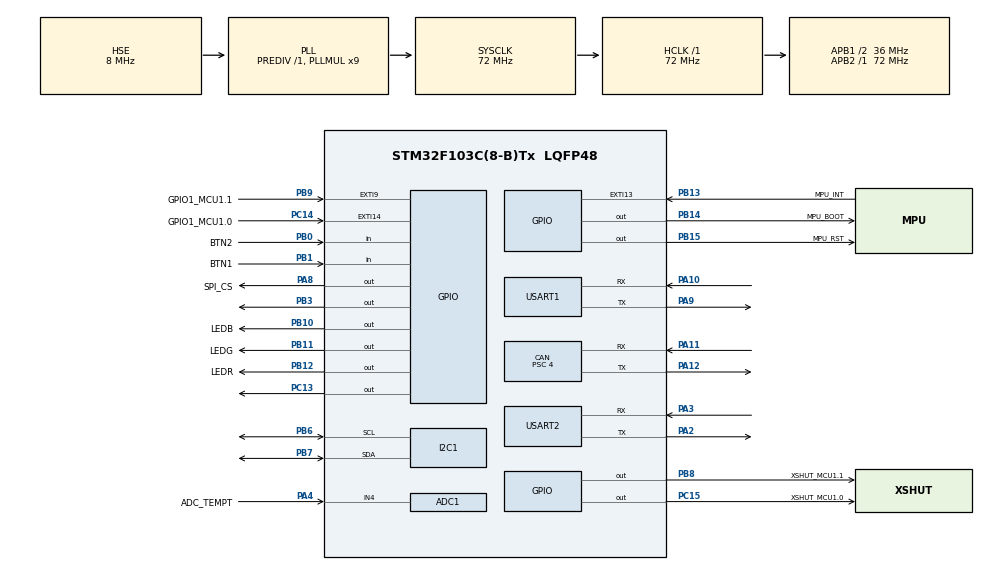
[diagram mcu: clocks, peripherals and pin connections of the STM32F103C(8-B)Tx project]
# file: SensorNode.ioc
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ADC1.Channel-2\#ChannelRegularConversion=ADC_CHANNEL_4
ADC1.NbrOfConversionFlag=1
ADC1.Rank-2\#ChannelRegularConversion=1
ADC1.SamplingTime-2\#ChannelRegularConversion=ADC_SAMPLETIME_1CYCLE_5
ADC1.master=1
CAN.BS1=CAN_BS1_13TQ
CAN.BS2=CAN_BS2_4TQ
CAN.CalculateBaudRate=500000
CAN.CalculateTimeBit=2000
CAN.CalculateTimeQuantum=111.11111111111111
CAN.Prescaler=4
CAN.SJW=CAN_SJW_2TQ
Mcu.Family=STM32F1
Mcu.Name=STM32F103C(8-B)Tx
Mcu.Package=LQFP48
NVIC.CAN1_RX1_IRQn=true\:0\:0\:false\:false\:true\:true\:true\:true
NVIC.PriorityGroup=NVIC_PRIORITYGROUP_4
NVIC.TIM2_IRQn=true\:0\:0\:false\:false\:true\:true\:true\:true
PA10.Mode=Asynchronous
PA10.Signal=USART1_RX
PA11.Mode=CAN_Activate
PA11.Signal=CAN_RX
PA12.Mode=CAN_Activate
PA12.Signal=CAN_TX
PA2.Mode=Asynchronous
PA2.Signal=USART2_TX
PA3.Mode=Asynchronous
PA3.Signal=USART2_RX
PA4.GPIO_Label=ADC_TEMPT
PA4.Signal=SharedAnalog_PA4
PA8.GPIO_Label=SPI_CS
PA8.Signal=GPIO_Output
PA9.Mode=Asynchronous
PA9.Signal=USART1_TX
PB0.GPIO_Label=BTN2
PB0.Signal=GPIO_Input
PB1.GPIO_Label=BTN1
PB1.Signal=GPIO_Input
PB10.GPIO_Label=LEDB
PB10.PinState=GPIO_PIN_SET
PB10.Signal=GPIO_Output
PB11.GPIO_Label=LEDG
PB11.PinState=GPIO_PIN_SET
PB11.Signal=GPIO_Output
PB12.GPIO_Label=LEDR
PB12.PinState=GPIO_PIN_SET
PB12.Signal=GPIO_Output
PB13.GPIO_Label=MPU_INT
PB13.Signal=GPXTI13
PB14.GPIO_Label=MPU_BOOT
PB14.Signal=GPIO_Output
PB15.GPIO_Label=MPU_RST
PB15.Signal=GPIO_Output
PB3.PinState=GPIO_PIN_SET
PB3.Signal=GPIO_Output
PB6.Mode=I2C
PB6.Signal=I2C1_SCL
PB7.Mode=I2C
PB7.Signal=I2C1_SDA
PB8.GPIO_Label=XSHUT_MCU1.1
PB8.Signal=GPIO_Output
PB9.GPIO_Label=GPIO1_MCU1.1
PB9.Signal=GPXTI9
PC13-TAMPER-RTC.Signal=GPIO_Output
PC14-OSC32_IN.GPIO_Label=GPIO1_MCU1.0
PC14-OSC32_IN.Signal=GPXTI14
PC15-OSC32_OUT.GPIO_Label=XSHUT_MCU1.0
PC15-OSC32_OUT.Signal=GPIO_Output
PD0-OSC_IN.Mode=HSE-External-Oscillator
PD0-OSC_IN.Signal=RCC_OSC_IN
PD1-OSC_OUT.Mode=HSE-External-Oscillator
PD1-OSC_OUT.Signal=RCC_OSC_OUT
ProjectManager.HeapSize=0x200
ProjectManager.StackSize=0x400
ProjectManager.TargetToolchain=STM32CubeIDE
RCC.ADCPresc=RCC_ADCPCLK2_DIV6
RCC.AHBFreq_Value=72000000
RCC.APB1CLKDivider=RCC_HCLK_DIV2
RCC.APB1Freq_Value=36000000
RCC.APB1TimFreq_Value=72000000
RCC.APB2Freq_Value=72000000
RCC.APB2TimFreq_Value=72000000
RCC.HCLKFreq_Value=72000000
RCC.PLLMUL=RCC_PLL_MUL9
RCC.PLLSourceVirtual=RCC_PLLSOURCE_HSE
RCC.SYSCLKFreq_VALUE=72000000
RCC.SYSCLKSource=RCC_SYSCLKSOURCE_PLLCLK
RCC.USBFreq_Value=72000000
SH.SharedAnalog_PA4.0=GPIO_Analog
SH.SharedAnalog_PA4.1=ADC1_IN4,IN4
TIM2.Period=999
TIM2.Prescaler=3599
USART1.VirtualMode=VM_ASYNC
USART2.VirtualMode=VM_ASYNC
VP_SYS_VS_ND.Mode=No_Debug
VP_TIM2_VS_ClockSourceINT.Mode=Internal
board=custom

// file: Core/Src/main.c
/* USER CODE BEGIN Header */
/**
  ******************************************************************************
  * @file           : main.c
  * @brief          : Main program body
  ******************************************************************************
  * @attention
  *
  * Copyright (c) 2023 STMicroelectronics.
  * All rights reserved.
  *
  * This software is licensed under terms that can be found in the LICENSE file
  * in the root directory of this software component.
  * If no LICENSE file comes with this software, it is provided AS-IS.
  *
  ******************************************************************************
  */
/* USER CODE END Header */
#include "main.h"

/* USER CODE BEGIN Includes */
#include "uart.h"
#include "can.h"
#include "stdlib.h"
/* USER CODE END Includes */

ADC_HandleTypeDef hadc1;

CAN_HandleTypeDef hcan;

I2C_HandleTypeDef hi2c1;

TIM_HandleTypeDef htim2;

UART_HandleTypeDef huart1;
UART_HandleTypeDef huart2;

/* USER CODE BEGIN PV */
//const uint8_t first_value = 0x01;
//const uint8_t second_value = 0x02;

uint8_t count = 0; // messsage counter

/* CAN Tx variables */
extern uint8_t CANTxBuffer[];
uint8_t CANDataTxFlag = 0;

/* CAN Rx variables */
extern uint8_t CANRxBuffer[];
extern uint8_t CANDataRcvFlag;

/* USER CODE END PV */

void SystemClock_Config(void);
static void MX_GPIO_Init(void);
static void MX_ADC1_Init(void);
static void MX_CAN_Init(void);
static void MX_I2C1_Init(void);
static void MX_USART1_UART_Init(void);
static void MX_USART2_UART_Init(void);
static void MX_TIM2_Init(void);

/* USER CODE BEGIN 0 */
// Callback function for timer2
void HAL_TIM_PeriodElapsedCallback(TIM_HandleTypeDef *htim)
{
 if(htim->Instance == htim2.Instance)
 {
   HAL_GPIO_TogglePin(GPIOC, GPIO_PIN_13);
   CANDataTxFlag = 1;
 }
}

/* USER CODE END 0 */

int main(void)
{

  /* MCU Configuration--------------------------------------------------------*/

  /* Reset of all peripherals, Initializes the Flash interface and the Systick. */
  HAL_Init();

  /* Configure the system clock */
  SystemClock_Config();

  /* Initialize all configured peripherals */
  MX_GPIO_Init();
  MX_ADC1_Init();
  MX_CAN_Init();
  MX_I2C1_Init();
  MX_USART1_UART_Init();
  MX_USART2_UART_Init();
  MX_TIM2_Init();
  /* USER CODE BEGIN 2 */
  HAL_TIM_Base_Start_IT(&htim2);
  if (HAL_CAN_Start(&hcan) != HAL_OK)
  {
	  Error_Handler();
  }
  HAL_CAN_ActivateNotification(&hcan, CAN_IT_RX_FIFO1_MSG_PENDING);
  printf("Sensor\n");

  /* USER CODE END 2 */

  /* Infinite loop */
  /* USER CODE BEGIN WHILE */
  while (1)
  {
	if (CANDataTxFlag == 1)
	{
		CANDataTxFlag = 0;
		genMessage();
		CAN_Transmit(&hcan);
	}
//	HAL_Delay(50);

	if (CANDataRcvFlag == 1)
	{
		CANDataRcvFlag = 0;
		// Compare data received true
		if ((CANRxBuffer[0] == CANTxBuffer[0]) && (CANRxBuffer[1] == CANTxBuffer[1]))
		{
			if (CANRxBuffer[2] == (CANTxBuffer[0] + CANTxBuffer[1]))
			{
				// Generate CRC from data received
				uint8_t crc = SAE_J1850_Calc(CANRxBuffer, 7);

				// Compare CRC data received and CRC generated
				if (crc == CANRxBuffer[7])
				{
					HAL_GPIO_TogglePin(GPIO_Port, LEDB_Pin);
				}
			}
		}

	}
    /* USER CODE END WHILE */

  }
}

void SystemClock_Config(void)
{
  RCC_OscInitTypeDef RCC_OscInitStruct = {0};
  RCC_ClkInitTypeDef RCC_ClkInitStruct = {0};
  RCC_PeriphCLKInitTypeDef PeriphClkInit = {0};

  /** Initializes the RCC Oscillators according to the specified parameters
  * in the RCC_OscInitTypeDef structure.
  */
  RCC_OscInitStruct.OscillatorType = RCC_OSCILLATORTYPE_HSE;
  RCC_OscInitStruct.HSEState = RCC_HSE_ON;
  RCC_OscInitStruct.HSEPredivValue = RCC_HSE_PREDIV_DIV1;
  RCC_OscInitStruct.HSIState = RCC_HSI_ON;
  RCC_OscInitStruct.PLL.PLLState = RCC_PLL_ON;
  RCC_OscInitStruct.PLL.PLLSource = RCC_PLLSOURCE_HSE;
  RCC_OscInitStruct.PLL.PLLMUL = RCC_PLL_MUL9;
  if (HAL_RCC_OscConfig(&RCC_OscInitStruct) != HAL_OK)
  {
    Error_Handler();
  }

  /** Initializes the CPU, AHB and APB buses clocks
  */
  RCC_ClkInitStruct.ClockType = RCC_CLOCKTYPE_HCLK|RCC_CLOCKTYPE_SYSCLK
                              |RCC_CLOCKTYPE_PCLK1|RCC_CLOCKTYPE_PCLK2;
  RCC_ClkInitStruct.SYSCLKSource = RCC_SYSCLKSOURCE_PLLCLK;
  RCC_ClkInitStruct.AHBCLKDivider = RCC_SYSCLK_DIV1;
  RCC_ClkInitStruct.APB1CLKDivider = RCC_HCLK_DIV2;
  RCC_ClkInitStruct.APB2CLKDivider = RCC_HCLK_DIV1;

  if (HAL_RCC_ClockConfig(&RCC_ClkInitStruct, FLASH_LATENCY_2) != HAL_OK)
  {
    Error_Handler();
  }
  PeriphClkInit.PeriphClockSelection = RCC_PERIPHCLK_ADC;
  PeriphClkInit.AdcClockSelection = RCC_ADCPCLK2_DIV6;
  if (HAL_RCCEx_PeriphCLKConfig(&PeriphClkInit) != HAL_OK)
  {
    Error_Handler();
  }
}

static void MX_ADC1_Init(void)
{

  ADC_ChannelConfTypeDef sConfig = {0};

  /** Common config
  */
  hadc1.Instance = ADC1;
  hadc1.Init.ScanConvMode = ADC_SCAN_DISABLE;
  hadc1.Init.ContinuousConvMode = DISABLE;
  hadc1.Init.DiscontinuousConvMode = DISABLE;
  hadc1.Init.ExternalTrigConv = ADC_SOFTWARE_START;
  hadc1.Init.DataAlign = ADC_DATAALIGN_RIGHT;
  hadc1.Init.NbrOfConversion = 1;
  if (HAL_ADC_Init(&hadc1) != HAL_OK)
  {
    Error_Handler();
  }

  /** Configure Regular Channel
  */
  sConfig.Channel = ADC_CHANNEL_4;
  sConfig.Rank = ADC_REGULAR_RANK_1;
  sConfig.SamplingTime = ADC_SAMPLETIME_1CYCLE_5;
  if (HAL_ADC_ConfigChannel(&hadc1, &sConfig) != HAL_OK)
  {
    Error_Handler();
  }

}

static void MX_CAN_Init(void)
{

  hcan.Instance = CAN1;
  hcan.Init.Prescaler = 4;
  hcan.Init.Mode = CAN_MODE_NORMAL;
  hcan.Init.SyncJumpWidth = CAN_SJW_2TQ;
  hcan.Init.TimeSeg1 = CAN_BS1_13TQ;
  hcan.Init.TimeSeg2 = CAN_BS2_4TQ;
  hcan.Init.TimeTriggeredMode = DISABLE;
  hcan.Init.AutoBusOff = DISABLE;
  hcan.Init.AutoWakeUp = DISABLE;
  hcan.Init.AutoRetransmission = DISABLE;
  hcan.Init.ReceiveFifoLocked = DISABLE;
  hcan.Init.TransmitFifoPriority = DISABLE;
  if (HAL_CAN_Init(&hcan) != HAL_OK)
  {
    Error_Handler();
  }
  /* USER CODE BEGIN CAN_Init 2 */
  CAN_FilterTypeDef canfilterconfig;

  canfilterconfig.FilterActivation = CAN_FILTER_ENABLE;
  canfilterconfig.FilterBank = 12;  // which filter bank to use from the assigned ones
  canfilterconfig.FilterFIFOAssignment = CAN_FILTER_FIFO1;
  canfilterconfig.FilterIdHigh = 0x012<<5;
  canfilterconfig.FilterIdLow = 0;
  canfilterconfig.FilterMaskIdHigh = 0x012<<5;
  canfilterconfig.FilterMaskIdLow = 0x0000;
  canfilterconfig.FilterMode = CAN_FILTERMODE_IDMASK;
  canfilterconfig.FilterScale = CAN_FILTERSCALE_32BIT;
  canfilterconfig.SlaveStartFilterBank = 13;  // how many filters to assign to the CAN1 (master can)

  HAL_CAN_ConfigFilter(&hcan, &canfilterconfig);
  /* USER CODE END CAN_Init 2 */

}

static void MX_I2C1_Init(void)
{

  hi2c1.Instance = I2C1;
  hi2c1.Init.ClockSpeed = 100000;
  hi2c1.Init.DutyCycle = I2C_DUTYCYCLE_2;
  hi2c1.Init.OwnAddress1 = 0;
  hi2c1.Init.AddressingMode = I2C_ADDRESSINGMODE_7BIT;
  hi2c1.Init.DualAddressMode = I2C_DUALADDRESS_DISABLE;
  hi2c1.Init.OwnAddress2 = 0;
  hi2c1.Init.GeneralCallMode = I2C_GENERALCALL_DISABLE;
  hi2c1.Init.NoStretchMode = I2C_NOSTRETCH_DISABLE;
  if (HAL_I2C_Init(&hi2c1) != HAL_OK)
  {
    Error_Handler();
  }

}

static void MX_TIM2_Init(void)
{

  TIM_ClockConfigTypeDef sClockSourceConfig = {0};
  TIM_MasterConfigTypeDef sMasterConfig = {0};

  htim2.Instance = TIM2;
  htim2.Init.Prescaler = 3599;
  htim2.Init.CounterMode = TIM_COUNTERMODE_UP;
  htim2.Init.Period = 999;
  htim2.Init.ClockDivision = TIM_CLOCKDIVISION_DIV1;
  htim2.Init.AutoReloadPreload = TIM_AUTORELOAD_PRELOAD_DISABLE;
  if (HAL_TIM_Base_Init(&htim2) != HAL_OK)
  {
    Error_Handler();
  }
  sClockSourceConfig.ClockSource = TIM_CLOCKSOURCE_INTERNAL;
  if (HAL_TIM_ConfigClockSource(&htim2, &sClockSourceConfig) != HAL_OK)
  {
    Error_Handler();
  }
  sMasterConfig.MasterOutputTrigger = TIM_TRGO_RESET;
  sMasterConfig.MasterSlaveMode = TIM_MASTERSLAVEMODE_DISABLE;
  if (HAL_TIMEx_MasterConfigSynchronization(&htim2, &sMasterConfig) != HAL_OK)
  {
    Error_Handler();
  }

}

static void MX_USART1_UART_Init(void)
{

  huart1.Instance = USART1;
  huart1.Init.BaudRate = 115200;
  huart1.Init.WordLength = UART_WORDLENGTH_8B;
  huart1.Init.StopBits = UART_STOPBITS_1;
  huart1.Init.Parity = UART_PARITY_NONE;
  huart1.Init.Mode = UART_MODE_TX_RX;
  huart1.Init.HwFlowCtl = UART_HWCONTROL_NONE;
  huart1.Init.OverSampling = UART_OVERSAMPLING_16;
  if (HAL_UART_Init(&huart1) != HAL_OK)
  {
    Error_Handler();
  }

}

static void MX_USART2_UART_Init(void)
{

  huart2.Instance = USART2;
  huart2.Init.BaudRate = 115200;
  huart2.Init.WordLength = UART_WORDLENGTH_8B;
  huart2.Init.StopBits = UART_STOPBITS_1;
  huart2.Init.Parity = UART_PARITY_NONE;
  huart2.Init.Mode = UART_MODE_TX_RX;
  huart2.Init.HwFlowCtl = UART_HWCONTROL_NONE;
  huart2.Init.OverSampling = UART_OVERSAMPLING_16;
  if (HAL_UART_Init(&huart2) != HAL_OK)
  {
    Error_Handler();
  }

}

static void MX_GPIO_Init(void)
{
  GPIO_InitTypeDef GPIO_InitStruct = {0};

  /* GPIO Ports Clock Enable */
  __HAL_RCC_GPIOC_CLK_ENABLE();
  __HAL_RCC_GPIOD_CLK_ENABLE();
  __HAL_RCC_GPIOA_CLK_ENABLE();
  __HAL_RCC_GPIOB_CLK_ENABLE();

  /*Configure GPIO pin Output Level */
  HAL_GPIO_WritePin(GPIOC, GPIO_PIN_13|XSHUT_MCU1_0_Pin, GPIO_PIN_RESET);

  /*Configure GPIO pin Output Level */
  HAL_GPIO_WritePin(GPIOB, LEDB_Pin|LEDG_Pin|LEDR_Pin|GPIO_PIN_3, GPIO_PIN_SET);

  /*Configure GPIO pin Output Level */
  HAL_GPIO_WritePin(GPIOB, MPU_BOOT_Pin|MPU_RST_Pin|XSHUT_MCU1_1_Pin, GPIO_PIN_RESET);

  /*Configure GPIO pin Output Level */
  HAL_GPIO_WritePin(SPI_CS_GPIO_Port, SPI_CS_Pin, GPIO_PIN_RESET);

  /*Configure GPIO pins : PC13 XSHUT_MCU1_0_Pin */
  GPIO_InitStruct.Pin = GPIO_PIN_13|XSHUT_MCU1_0_Pin;
  GPIO_InitStruct.Mode = GPIO_MODE_OUTPUT_PP;
  GPIO_InitStruct.Pull = GPIO_NOPULL;
  GPIO_InitStruct.Speed = GPIO_SPEED_FREQ_LOW;
  HAL_GPIO_Init(GPIOC, &GPIO_InitStruct);

  /*Configure GPIO pin : GPIO1_MCU1_0_Pin */
  GPIO_InitStruct.Pin = GPIO1_MCU1_0_Pin;
  GPIO_InitStruct.Mode = GPIO_MODE_IT_RISING;
  GPIO_InitStruct.Pull = GPIO_NOPULL;
  HAL_GPIO_Init(GPIO1_MCU1_0_GPIO_Port, &GPIO_InitStruct);

  /*Configure GPIO pins : BTN2_Pin BTN1_Pin */
  GPIO_InitStruct.Pin = BTN2_Pin|BTN1_Pin;
  GPIO_InitStruct.Mode = GPIO_MODE_INPUT;
  GPIO_InitStruct.Pull = GPIO_NOPULL;
  HAL_GPIO_Init(GPIOB, &GPIO_InitStruct);

  /*Configure GPIO pins : LEDB_Pin LEDG_Pin LEDR_Pin MPU_BOOT_Pin
                           MPU_RST_Pin PB3 XSHUT_MCU1_1_Pin */
  GPIO_InitStruct.Pin = LEDB_Pin|LEDG_Pin|LEDR_Pin|MPU_BOOT_Pin
                          |MPU_RST_Pin|GPIO_PIN_3|XSHUT_MCU1_1_Pin;
  GPIO_InitStruct.Mode = GPIO_MODE_OUTPUT_PP;
  GPIO_InitStruct.Pull = GPIO_NOPULL;
  GPIO_InitStruct.Speed = GPIO_SPEED_FREQ_LOW;
  HAL_GPIO_Init(GPIOB, &GPIO_InitStruct);

  /*Configure GPIO pins : MPU_INT_Pin GPIO1_MCU1_1_Pin */
  GPIO_InitStruct.Pin = MPU_INT_Pin|GPIO1_MCU1_1_Pin;
  GPIO_InitStruct.Mode = GPIO_MODE_IT_RISING;
  GPIO_InitStruct.Pull = GPIO_NOPULL;
  HAL_GPIO_Init(GPIOB, &GPIO_InitStruct);

  /*Configure GPIO pin : SPI_CS_Pin */
  GPIO_InitStruct.Pin = SPI_CS_Pin;
  GPIO_InitStruct.Mode = GPIO_MODE_OUTPUT_PP;
  GPIO_InitStruct.Pull = GPIO_NOPULL;
  GPIO_InitStruct.Speed = GPIO_SPEED_FREQ_LOW;
  HAL_GPIO_Init(SPI_CS_GPIO_Port, &GPIO_InitStruct);

}

void Error_Handler(void)
{
  __disable_irq();
  while (1)
  {
  }
}
